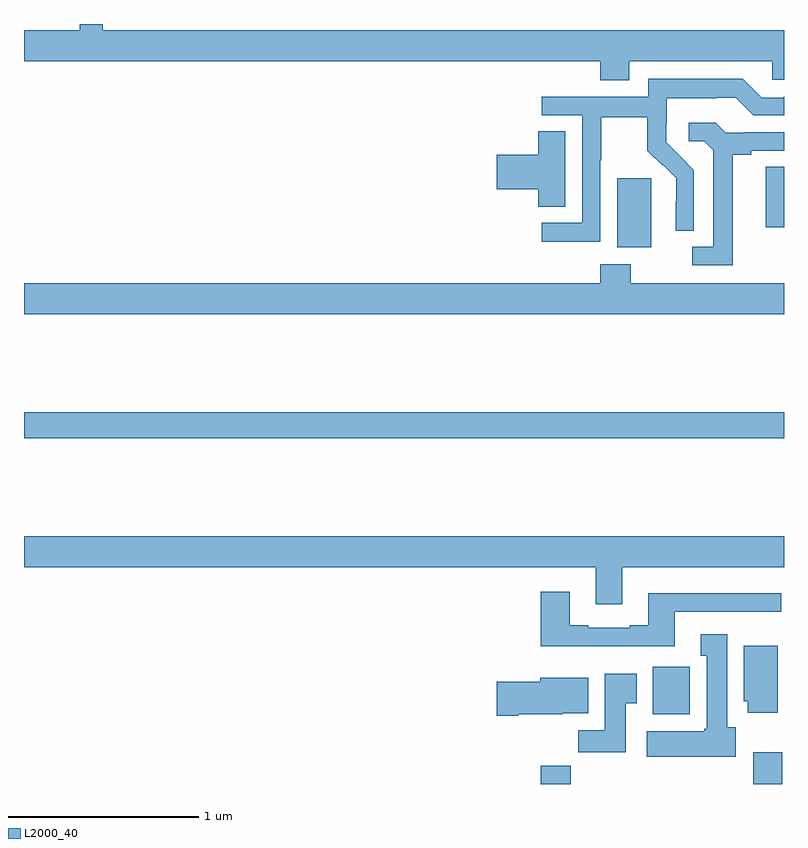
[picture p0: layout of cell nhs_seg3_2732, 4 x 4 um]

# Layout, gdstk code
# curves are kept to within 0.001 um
import gdstk
lib = gdstk.Library(unit=1e-6, precision=1e-09)
def R(c, l, rs):  # rectangles x0, y0, x1, y1
    for r in rs: c.add(gdstk.rectangle(r[:2], r[2:], *l))
def P(c, l, *ps):  # polygons
    for p in ps: c.add(gdstk.Polygon(p, *l))
L2000_40 = (2000, 40)

nhs_seg3_2732 = lib.new_cell('nhs_seg3_2732')
R(nhs_seg3_2732, L2000_40, [(253.721,742.4,253.877,742.496), (254.837,742.4,254.99,742.567), (254.309,742.766,254.505,743.017), (251,744.22,255,744.356), (254.123,745.226,254.302,745.587), (254.903,745.329,255,745.649)])
P(nhs_seg3_2732, L2000_40, [(254.185,746.204),(254.937,746.204),(254.937,746.106),(255,746.106),(255,746.368),(251.414,746.368),(251.414,746.4),(251.293,746.4),(251.293,746.368),(251,746.368),(251,746.204),(254.033,746.204),(254.033,746.105),(254.185,746.105)],
  [(254.034,745.684),(254.037,745.684),(254.037,745.908),(254.281,745.908),(254.281,745.733),(254.358,745.656),(254.361,745.659),(254.432,745.589),(254.432,745.466),(254.43,745.466),(254.43,745.312),(254.526,745.312),(254.526,745.63),(254.38,745.778),(254.38,745.875),(254.382,745.875),(254.382,746.009),(254.645,746.009),(254.645,746.013),(254.745,746.013),(254.838,745.92),(255,745.92),(255,746.016),(254.999,746.013),(254.883,746.013),(254.783,746.113),(254.286,746.113),(254.286,746.016),(253.725,746.016),(253.725,745.92),(253.938,745.92),(253.938,745.353),(253.725,745.353),(253.725,745.255),(254.034,745.255)],
  [(254.731,745.712),(254.827,745.712),(254.827,745.734),(255,745.734),(255,745.83),(254.788,745.83),(254.788,745.827),(254.694,745.827),(254.642,745.879),(254.499,745.879),(254.499,745.782),(254.58,745.782),(254.627,745.735),(254.627,745.227),(254.517,745.227),(254.517,745.131),(254.731,745.131)],
  [(253.849,745.835),(253.706,745.835),(253.706,745.712),(253.488,745.712),(253.488,745.529),(253.706,745.529),(253.706,745.438),(253.849,745.438)],
  [(255,745.036),(254.193,745.036),(254.193,745.135),(254.033,745.135),(254.033,745.036),(251,745.036),(251,744.872),(255,744.872)],
  [(254.149,743.54),(255,743.54),(255,743.704),(251,743.704),(251,743.54),(254.009,743.54),(254.009,743.346),(254.149,743.346)],
  [(254.425,743.307),(254.986,743.307),(254.986,743.404),(254.285,743.404),(254.285,743.236),(254.189,743.236),(254.189,743.223),(253.969,743.223),(253.969,743.236),(253.873,743.236),(253.873,743.413),(253.721,743.413),(253.721,743.126),(254.425,743.126)],
  [(254.746,742.698),(254.701,742.698),(254.701,743.188),(254.561,743.188),(254.561,743.075),(254.594,743.075),(254.594,742.692),(254.581,742.692),(254.581,742.678),(254.277,742.678),(254.277,742.544),(254.746,742.544)],
  [(254.968,743.128),(254.789,743.128),(254.789,742.836),(254.81,742.836),(254.81,742.776),(254.968,742.776)],
  [(254.167,742.825),(254.224,742.825),(254.224,742.981),(254.057,742.981),(254.057,742.684),(253.918,742.684),(253.918,742.566),(254.167,742.566)],
  [(253.6,742.766),(253.836,742.766),(253.836,742.772),(253.969,742.772),(253.969,742.96),(253.718,742.96),(253.718,742.937),(253.488,742.937),(253.488,742.759),(253.6,742.759)])

lib.write_gds('nhs_seg3_2732.gds')
